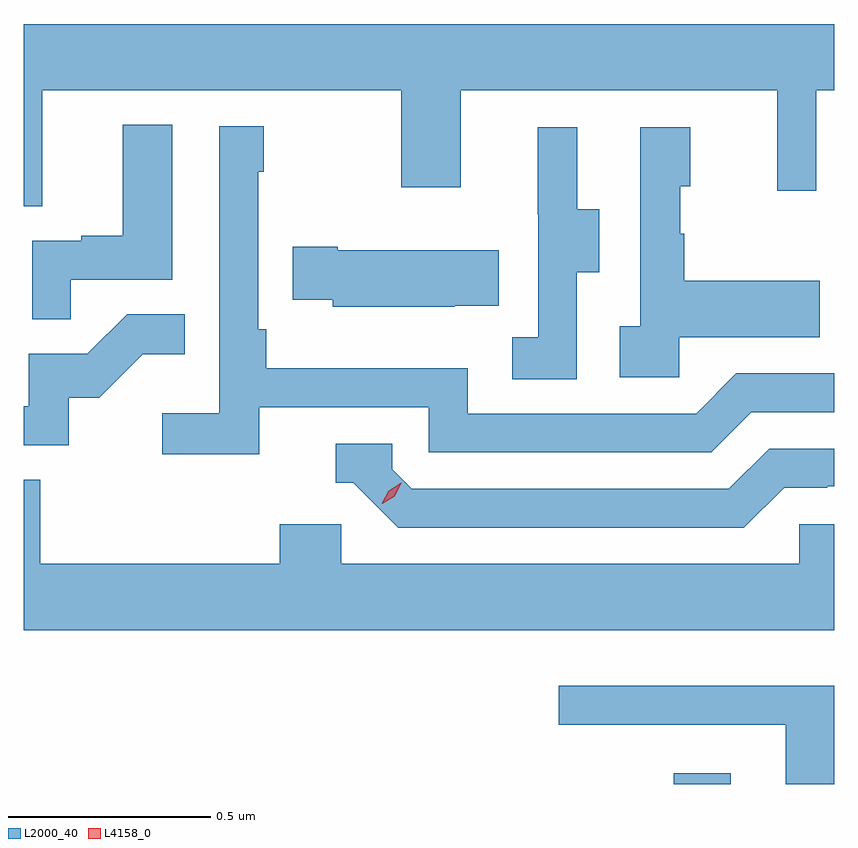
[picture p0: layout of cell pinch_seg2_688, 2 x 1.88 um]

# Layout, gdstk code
import gdstk
lib = gdstk.Library(unit=1e-6, precision=1e-09)
def R(c, l, rs):  # rectangles x0, y0, x1, y1
    for r in rs: c.add(gdstk.rectangle(r[:2], r[2:], *l))
def P(c, l, *ps):  # polygons
    for p in ps: c.add(gdstk.Polygon(p, *l))
L2000_40 = (2000, 40)
L4158_0 = (4158, 0)

pinch_seg2_688 = lib.new_cell('pinch_seg2_688')
R(pinch_seg2_688, L2000_40, [(1020.533,596.641,1020.673,596.668)])
P(pinch_seg2_688, L2000_40, [(1018.975,598.352),(1019.86,598.352),(1019.86,598.113),(1020.007,598.113),(1020.007,598.352),(1020.788,598.352),(1020.788,598.104),(1020.885,598.104),(1020.885,598.352),(1020.929,598.352),(1020.929,598.516),(1018.929,598.516),(1018.929,598.066),(1018.975,598.066)],
  [(1019.045,597.885),(1019.296,597.885),(1019.296,598.267),(1019.174,598.267),(1019.174,597.994),(1019.071,597.994),(1019.071,597.981),(1018.95,597.981),(1018.95,597.787),(1019.045,597.787)],
  [(1019.51,597.57),(1019.928,597.57),(1019.928,597.459),(1020.625,597.459),(1020.724,597.558),(1020.929,597.558),(1020.929,597.654),(1020.687,597.654),(1020.588,597.555),(1020.024,597.555),(1020.024,597.667),(1019.528,597.667),(1019.528,597.763),(1019.508,597.763),(1019.508,598.151),(1019.521,598.151),(1019.521,598.264),(1019.412,598.264),(1019.412,597.556),(1019.271,597.556),(1019.271,597.454),(1019.51,597.454)],
  [(1020.546,597.743),(1020.893,597.743),(1020.893,597.883),(1020.559,597.883),(1020.559,597.998),(1020.549,597.998),(1020.549,598.116),(1020.574,598.116),(1020.574,598.261),(1020.45,598.261),(1020.45,597.77),(1020.399,597.77),(1020.399,597.645),(1020.546,597.645)],
  [(1020.294,597.904),(1020.349,597.904),(1020.349,598.059),(1020.295,598.059),(1020.295,598.261),(1020.197,598.261),(1020.197,598.047),(1020.198,598.047),(1020.198,597.743),(1020.135,597.743),(1020.135,597.64),(1020.294,597.64)],
  [(1019.993,597.821),(1020.101,597.821),(1020.101,597.958),(1019.704,597.958),(1019.704,597.966),(1019.593,597.966),(1019.593,597.836),(1019.691,597.836),(1019.691,597.818),(1019.993,597.818)],
  [(1019.04,597.594),(1019.116,597.594),(1019.223,597.701),(1019.327,597.701),(1019.327,597.8),(1019.184,597.8),(1019.086,597.702),(1018.941,597.702),(1018.941,597.573),(1018.929,597.573),(1018.929,597.477),(1019.04,597.477)],
  [(1020.805,597.372),(1020.912,597.372),(1020.912,597.375),(1020.929,597.375),(1020.929,597.468),(1020.768,597.468),(1020.669,597.369),(1019.886,597.369),(1019.838,597.417),(1019.838,597.48),(1019.699,597.48),(1019.699,597.384),(1019.742,597.384),(1019.853,597.273),(1020.706,597.273)],
  [(1020.929,597.282),(1020.843,597.282),(1020.843,597.184),(1019.712,597.184),(1019.712,597.282),(1019.561,597.282),(1019.561,597.184),(1018.97,597.184),(1018.97,597.392),(1018.929,597.392),(1018.929,597.02),(1020.929,597.02)],
  [(1020.929,596.884),(1020.249,596.884),(1020.249,596.787),(1020.809,596.787),(1020.809,596.641),(1020.929,596.641)])
P(pinch_seg2_688, L4158_0, [(1019.813,597.332),(1019.813,597.332),(1019.83,597.365),(1019.861,597.384),(1019.861,597.384),(1019.861,597.384),(1019.845,597.351),(1019.814,597.332)])

lib.write_gds('pinch_seg2_688.gds')
